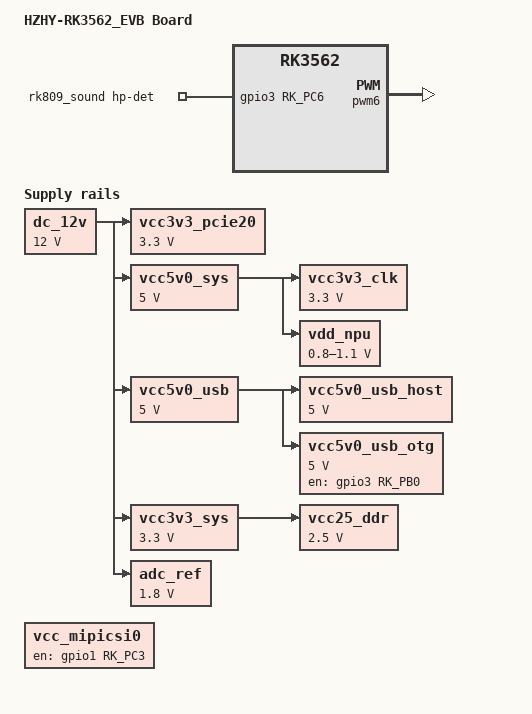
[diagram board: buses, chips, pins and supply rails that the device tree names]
// SPDX-License-Identifier: (GPL-2.0+ OR MIT)
/*
 * Copyright (c) 2022 Rockchip Electronics Co., Ltd.
 *
 * Ported to Rockchip BSP 6.1: the fiq-debugger node has no label in 6.1
 * (rk3562-linux.dtsi), so &fiq_debugger is replaced by a path reference.
 */
/dts-v1/;


#include "rk3562j.dtsi"
#include "rk3562-evb.dtsi"
#include <dt-bindings/pinctrl/rockchip.h>
#include <dt-bindings/sensor-dev.h>
#include "rk3562-linux.dtsi"
#include "rk3562-rk809.dtsi"

/ {
	model = "HZHY-RK3562_EVB Board";
	compatible = "rockchip,rk3562-evb2-ddr4-v10", "rockchip,rk3562";
	version = "v1.0.0_20250224";

	dc_12v: dc-12v {
		compatible = "regulator-fixed";
		regulator-name = "dc_12v";
		regulator-always-on;
		regulator-boot-on;
		regulator-min-microvolt = <12000000>;
		regulator-max-microvolt = <12000000>;
	};

//==================================================================
//耳机	
	rk809_sound: rk809-sound {
		status = "okay";
		compatible = "rockchip,multicodecs-card";
		rockchip,card-name = "rockchip-rk809";
		hp-det-gpio = <&gpio3 RK_PC6 GPIO_ACTIVE_HIGH>;
		rockchip,format = "i2s";
		rockchip,mclk-fs = <256>;
		rockchip,cpu = <&sai0>;
		rockchip,codec = <&rk809_codec>;
		pinctrl-names = "default";
		pinctrl-0 = <&hp_det>;
	};
	

	vcc3v3_pcie20: vcc3v3-pcie20 {
		compatible = "regulator-fixed";
		regulator-name = "vcc3v3_pcie20";
		regulator-min-microvolt = <3300000>;
		regulator-max-microvolt = <3300000>;
		enable-active-high;
		startup-delay-us = <5000>;
		vin-supply = <&dc_12v>;
	};
	
	vcc5v0_sys: vcc5v0-sys {
		compatible = "regulator-fixed";
		regulator-name = "vcc5v0_sys";
		regulator-always-on;
		regulator-boot-on;
		regulator-min-microvolt = <5000000>;
		regulator-max-microvolt = <5000000>;
		vin-supply = <&dc_12v>;
	};

	vcc5v0_usb: vcc5v0-usb {
		compatible = "regulator-fixed";
		regulator-name = "vcc5v0_usb";
		regulator-always-on;
		regulator-boot-on;
		regulator-min-microvolt = <5000000>;
		regulator-max-microvolt = <5000000>;
		vin-supply = <&dc_12v>;
	};
	

	vcc5v0_usb_host: vcc5v0-usb-host {
		compatible = "regulator-fixed";
		regulator-name = "vcc5v0_usb_host";
		regulator-boot-on;
		regulator-always-on;
		regulator-min-microvolt = <5000000>;
		regulator-max-microvolt = <5000000>;
		vin-supply = <&vcc5v0_usb>;
	};
	
	
	vcc5v0_usb_otg: vcc5v0-usb-otg {
		compatible = "regulator-fixed";
		regulator-name = "vcc5v0_usb_otg";
		regulator-min-microvolt = <5000000>;
		regulator-max-microvolt = <5000000>;
		enable-active-high;
		gpio = <&gpio3 RK_PB0 GPIO_ACTIVE_HIGH>;
		vin-supply = <&vcc5v0_usb>;
		pinctrl-names = "default";
		pinctrl-0 = <&usb_otg_pwren>;
	};
	
	
	vcc3v3_clk: vcc3v3-clk {
		compatible = "regulator-fixed";
		regulator-name = "vcc3v3_clk";
		regulator-min-microvolt = <3300000>;
		regulator-max-microvolt = <3300000>;
		vin-supply = <&vcc5v0_sys>;
	};

	vcc3v3_sys: vcc-sys {
		compatible = "regulator-fixed";
		regulator-name = "vcc3v3_sys";
		regulator-always-on;
		regulator-boot-on;
		regulator-min-microvolt = <3300000>;
		regulator-max-microvolt = <3300000>;
		vin-supply = <&dc_12v>;
	};

	vcc25_ddr: vcc25-ddr {
		compatible = "regulator-fixed";
		regulator-name = "vcc25_ddr";
		regulator-always-on;
		regulator-boot-on;
		regulator-min-microvolt = <2500000>;
		regulator-max-microvolt = <2500000>;
		vin-supply = <&vcc3v3_sys>;
	};

	vdd_npu: vdd-npu {
		compatible = "pwm-regulator";
		pwms = <&pwm6 0 5000 1>;
		regulator-name = "vdd_npu";
		regulator-min-microvolt = <800000>;
		regulator-max-microvolt = <1100000>;
		regulator-init-microvolt = <900000>;
		regulator-always-on;
		regulator-boot-on;
		regulator-settling-time-up-us = <250>;
		pwm-supply = <&vcc5v0_sys>;
		status = "okay";
	};

	wireless-wlan {
		compatible = "wlan-platdata";
		rockchip,grf = <&sys_grf>;
		wifi_chip_type = "ap6275s";
		pinctrl-names = "default";
		// pinctrl-0 = <&wifi_host_wake_irq>;
		WIFI,host_wake_irq = <&gpio0 RK_PB4 GPIO_ACTIVE_HIGH>;
		WIFI,poweren_gpio = <&gpio0 RK_PB3 GPIO_ACTIVE_HIGH>;
		status = "disabled";
	};

	wireless-bluetooth {
		compatible = "bluetooth-platdata";
		clocks = <&rk809 1>;
		clock-names = "ext_clock";
		uart_rts_gpios = <&gpio1 RK_PD3 GPIO_ACTIVE_LOW>;
		pinctrl-names = "default", "rts_gpio";
		BT,reset_gpio    = <&gpio0 RK_PC5 GPIO_ACTIVE_HIGH>;
		BT,wake_gpio     = <&gpio0 RK_PC7 GPIO_ACTIVE_HIGH>;
		BT,wake_host_irq = <&gpio0 RK_PC6 GPIO_ACTIVE_HIGH>;
		status = "disabled";
	};

	vcc_mipicsi0: vcc-mipicsi0-regulator {
		compatible = "regulator-fixed";
		gpio = <&gpio1 RK_PC3 GPIO_ACTIVE_HIGH>;
		pinctrl-names = "default";
		pinctrl-0 = <&mipicsi0_pwr>;
		regulator-name = "vcc_mipicsi0";
		enable-active-high;
		regulator-always-on;
		regulator-boot-on;
	};

//ADC参考电平
   adc_ref: adc-ref {
 		compatible = "regulator-fixed";
		regulator-name = "adc_ref";
		regulator-always-on;
		regulator-boot-on;
		regulator-min-microvolt = <1800000>;
		regulator-max-microvolt = <1800000>;
		vin-supply = <&dc_12v>;
   };
};


&{/fiq-debugger} {
	rockchip,baudrate = <115200>;
};


&i2c2{
	status = "disabled";
};

&pwm5{
	status = "disabled";
};

//NPU
&pwm6 {
	status = "okay";
};
